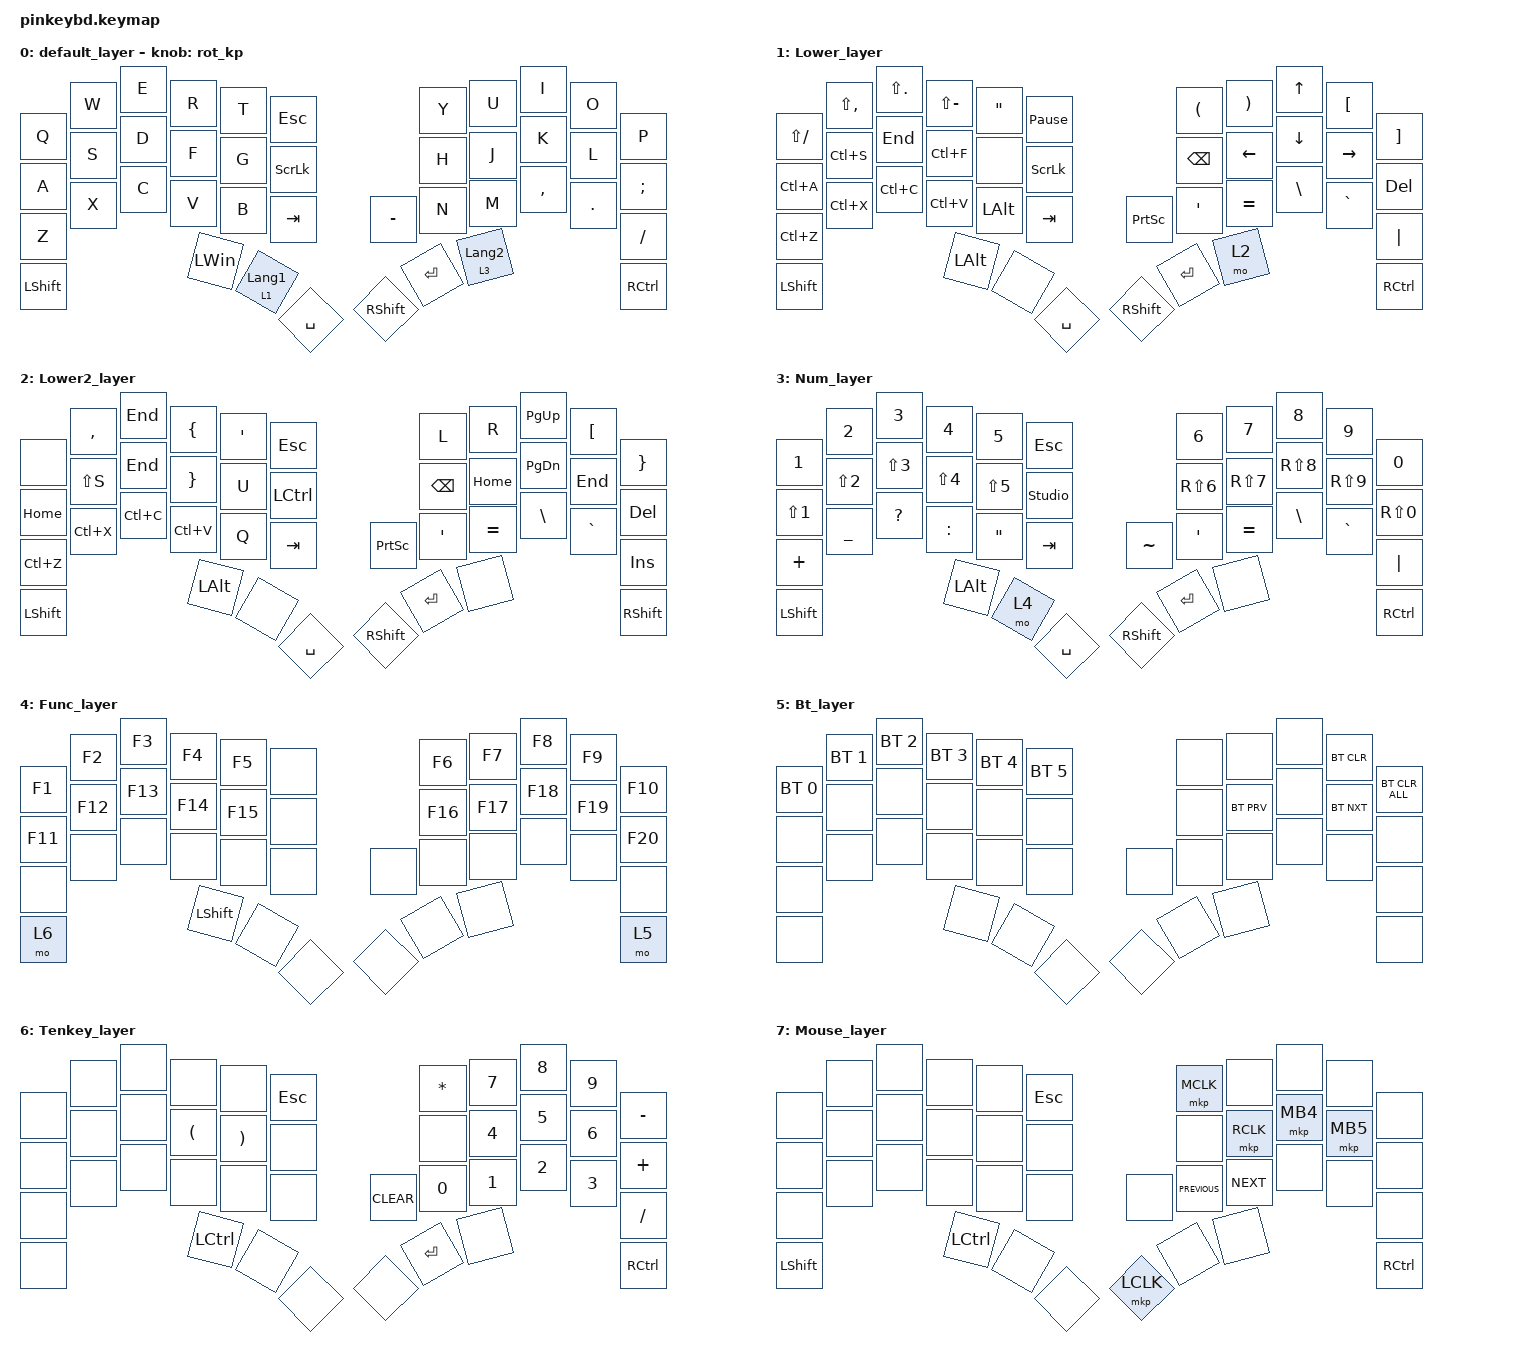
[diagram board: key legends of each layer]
#include <behaviors.dtsi>
#include <behaviors/runtime-sensor-rotate.dtsi>
#include <dt-bindings/zmk/bt.h>
#include <dt-bindings/zmk/keys.h>
#include <dt-bindings/zmk/pointing.h>

#define NUM_L 3

&scroll_runtime_input_processor {
    active-layers = <BIT(NUM_L)>;
};

&lt {
    tapping-term-ms = <250>;
};

/ {
    behaviors {
        rot_kp: sensor_rotate_kp {
            compatible = "zmk,behavior-runtime-sensor-rotate";
            #sensor-binding-cells = <0>;
            cw-binding = <&kp PG_DN>;
            ccw-binding = <&kp PG_UP>;
        };
    };

    keymap {
        compatible = "zmk,keymap";

            // ---------------------------------------------------------------------------------------------------------------------------------------------------------------------------------------------------------------
            // |        /       |       ,       |       .       |      -        |      ;       |    ESC         |                   |           |       L      |       R       |       D       |       Y       |      P      |
            // |        A       |       O       |       E       |      I        |      U       |    SCROLLLOCK  |                   |           |       G      |       N       |       T       |       S       |      K      |
            // |        X       |       C       |       V       |      W        |      Q       |    TAB         |                   |     F     |       J      |       H       |       M       |       B       |      Z      |
            // |    L_SHIFT     |               |               |   LOWER / Jp  |    Space     |    LEFT_WIN    |                   |  R_SHIFT  |      ENTER   |  Num_L / Ja   |               |               |   FUN_L     |
            // ---------------------------------------------------------------------------------------------------------------------------------------------------------------------------------------------------------------
        default_layer {
            bindings = <
                &kp Q       &kp W       &kp E       &kp R       &kp T       &kp ESC                                 &kp Y        &kp U        &kp I          &kp O           &kp P
                &kp A       &kp S       &kp D       &kp F       &kp G       &kp SCROLLLOCK                          &kp H        &kp J        &kp K          &kp L           &kp SEMI
                &kp Z       &kp X       &kp C       &kp V       &kp B       &kp TAB                                 &kp N        &kp M        &kp COMMA      &kp DOT         &kp FSLH
                &kp LSHIFT                             &kp LEFT_WIN &lt 1 LANGUAGE_1 &kp SPACE      &kp MINUS       &kp RSHIFT   &kp ENTER    &lt 3 LANGUAGE_2               &kp RCTRL
            >;
            sensor-bindings = <&rot_kp>;
        };
            // ---------------------------------------------------------------------------------------------------------------------------------------------------------------------------------------------------------------
            // |    /           |       <       |       >       |       _       |      ”        |    PAUSE_BREAK|                  |            |      （       |       ）     |        ↑      |        [      |    ]        |
            // |    LC(A)       |       LC(S)   |       END     |       LS(F)   |       U       |    SCROLLLOCK |                  |            |   Backspace   |       ←      |        ↓      |        →      |    DEL      |
            // |    UNDERSCORE  |       CUT     |       COPY    |       PASTE   |       LALT    |    TAB        |                  |   PSCRN    |    ' / "      |    = / +     |    \ / |      |    ` / ~      |    PIPE     |
            // |    L_SHIFT     |               |               |       LALT    |       none    |    SPACE      |                  |   RSHIFT   |   ENTER       |    LOWER2    |               |               |    RCTRL    |
            // ---------------------------------------------------------------------------------------------------------------------------------------------------------------------------------------------------------------
        Lower_layer {
            bindings = <
                &kp LS(FSLH)    &kp LS(COMMA)   &kp LS(DOT)     &kp LS(MINUS)   &kp DOUBLE_QUOTES   &kp PAUSE_BREAK                 &kp LPAR          &kp RPAR      &kp UP       &kp LBKT     &kp RBKT
                &kp LC(A)       &kp LC(S)       &kp END         &kp LC(F)       &none               &kp SCROLLLOCK                  &kp BSPC          &kp LEFT      &kp DOWN     &kp RIGHT    &kp DEL
                &kp LC(Z)       &kp LC(X)       &kp LC(C)       &kp LC(V)       &kp LALT            &kp TAB                         &kp APOS          &kp EQUAL     &kp BSLH     &kp GRAVE    &kp PIPE
                &kp LSHIFT                                      &kp LALT        &none               &kp SPACE           &kp PSCRN   &kp RSHIFT        &kp ENTER     &mo 2                     &kp RCTRL
            >;  
        };
            // -------------------------------------------------------------------------------------------------------------------------------------------------------------------------------------------------------------
            // |    /           |       ,        |       END     |       {       |       ’      |    ESC        |                  |            |      L      |      R         |    PG_UP      |     {       |      }      |
            // |    HOME        |       C_SAVE   |       END     |       }       |       U      |    LCTRL      |                  |            |  Backspace  |    HOME        |    PG_DN      |    END      |    DEL      |
            // |    UNDO        |       CUT      |       COPY    |       PASTE   |       Q      |    TAB        |                  |      F     |    ' / "    |    = / +       |    \ / |      |    ` / ~    |    INS      |
            // |    L_SHIFT     |                |               |       BT_L    |      SPACE   |    LALT       |                  |   ENTER    |    none     |   R_SHIFT      |               |             |   R_SHIFT   |
            // -------------------------------------------------------------------------------------------------------------------------------------------------------------------------------------------------------------
        Lower2_layer {
            bindings = <
                &none        &kp COMMA    &kp END      &kp LEFT_BRACE    &kp SINGLE_QUOTE    &kp ESC                             &kp L           &kp R        &kp PG_UP       &kp LBKT       &kp RBRC
                &kp HOME     &kp LS(S)    &kp END      &kp RIGHT_BRACE   &kp U               &kp LCTRL                           &kp BSPC        &kp HOME     &kp PG_DN       &kp END        &kp DEL
                &kp LC(Z)    &kp LC(X)    &kp LC(C)    &kp LC(V)         &kp Q               &kp TAB                             &kp APOS        &kp EQUAL    &kp BSLH        &kp GRAVE      &kp INS
                &kp LSHIFT                             &kp LALT          &none               &kp SPACE               &kp PSCRN   &kp RSHIFT      &kp ENTER    &none                          &kp RSHIFT
            >;
        };
            // --------------------------------------------------------------------------------------------------------------------------------------------------------------------------------------------------------------
            // |        1       |      2        |       3       |       4       |       5       |    ESC        |               |            |      6       |      7        |       8       |       9       |       0       |
            // |        !       |      @        |       #       |       $       |       %       |    none       |               |            |      ^       |      &        |       *       |       (       |       )       | 
            // |        F1      |     F2        |     F3        |       F4      |       F5      |    TAB        |               |     ~      |    ' / "     |    = / +      |    \ / |      |    ` / ~      |       INS     |
            // |    L_SHIFT     |               |               | En / FUNC_L   |    Space      |    LSIHT      |               |   R_SHIFT  |      ENTER   |     none      |               |               |       R_SHIFT |
            // --------------------------------------------------------------------------------------------------------------------------------------------------------------------------------------------------------------
        Num_layer {
            bindings = <
                &kp N1       &kp N2       &kp N3       &kp N4       &kp N5      &kp ESC                         &kp N6       &kp N7      &kp N8     &kp N9      &kp N0
                &kp LS(N1)   &kp LS(N2)   &kp LS(N3)   &kp LS(N4)   &kp LS(N5)  &studio_unlock                  &kp RS(N6)   &kp RS(N7)  &kp RS(N8) &kp RS(N9)  &kp RS(N0)
                &kp PLUS     &kp UNDER    &kp QMARK    &kp COLON    &kp DQT     &kp TAB                         &kp APOS     &kp EQUAL   &kp BSLH   &kp GRAVE   &kp PIPE
                &kp LSHIFT                             &kp LALT     &mo 4       &kp SPACE            &kp TILDE  &kp RSHIFT   &kp ENTER   &none                  &kp RCTRL
            >;
        };
            // ---------------------------------------------------------------------------------------------------------------------------------------------------------------------------------
            // |     F1      |     F2     |     F3     |     F4     |    F5      |    none    |                |            |    F6      |    F7      |    F8      |    F9       |     F10     |
            // |     F11     |     F12    |     F13    |     F14    |    F15     |    none    |                |   none     |    F16     |    F17     |    F18     |    F19      |     F20     |
            // |     none    |    none    |    none    |    none    |   none     |    none    |                |   none     |    none    |    none    |    none    |    none     |     none    |
            // |     L_SHIFT |    none    |    none    |    none    |   none     |    none    |                |   none     |    none    |    none    |    none    |    none     |   To_BT_L   |
            // ---------------------------------------------------------------------------------------------------------------------------------------------------------------------------------
        Func_layer {
            bindings = <
                &kp F1       &kp F2       &kp F3       &kp F4        &kp F5      &none                        &kp F6       &kp F7       &kp F8     &kp F9      &kp F10
                &kp F11      &kp F12      &kp F13      &kp F14       &kp F15     &none                        &kp F16      &kp F17      &kp F18    &kp F19     &kp F20
                &none        &none        &none        &none         &none       &none                        &none        &none        &none      &none       &none
                &mo 6                                  &kp LSHIFT    &none       &none             &none      &none        &none        &none                  &mo 5
            >;
        };
            // --------------------------------------------------------------------------------------------------------------------------------------------------------------------------------
            // |  BT_SEL 0  |  BT_SEL 1  |  BT_SEL 2  |  BT_SEL 3  |            |            |                  |            |    none    |    none    |    none    |   BT_CLR   | BT_CLR_ALL |
            // |    none    |    none    |    none    |    none    |   none     |    none    |                  |    none    |    none    |   BT_PRV   |    none    |   BT_NXT   |    none    |
            // |    none    |    none    |    none    |    none    |   none     |    none    |                  |    none    |    none    |    none    |    none    |   none     |    none    |
            // |    none    |            |            |    none    |   none     |    none    |                  |    none    |    none    |    none    |            |            |    none    |
            // --------------------------------------------------------------------------------------------------------------------------------------------------------------------------------
        Bt_layer {
            bindings = <
                &bt BT_SEL 0 &bt BT_SEL 1 &bt BT_SEL 2 &bt BT_SEL 3  &bt BT_SEL 4 &bt BT_SEL 5                  &none        &none        &none        &bt BT_CLR   &bt BT_CLR_ALL
                &none        &none        &none        &none         &none        &none                         &none        &bt BT_PRV   &none        &bt BT_NXT   &none
                &none        &none        &none        &none         &none        &none                         &none        &none        &none        &none        &none
                &none                                  &none         &none        &none             &none       &none        &none        &none                     &none
            >;
        };
            // --------------------------------------------------------------------------------------------------------------------------------------------------------------------------------
            // |    none    |    none    |    none    |    none    |   none     |    ESC     |                  |            |  ASTERISK  |      7     |     8      |     9      |      -     |
            // |    none    |    none    |    none    |    （      |     ）     |    none    |                  |            |    none    |      4     |     5      |     6      |      +     |
            // |    none    |    none    |    none    |    none    |   none     |    none    |                  |    CLEAR   |    none    |      1     |     2      |     3      |      /     |
            // |    L_SHIFT |            |            |    none    |   none     |    none    |                  |    none    |    ENTER   |      0     |            |            |    RCTRL   |
            // --------------------------------------------------------------------------------------------------------------------------------------------------------------------------------
        Tenkey_layer {
            bindings = <
                &none       &none        &none        &none         &none        &kp ESC                       &kp ASTERISK   &kp N7       &kp N8       &kp N9       &kp MINUS
                &none       &none        &none        &kp LPAR      &kp RPAR     &none                         &none          &kp N4       &kp N5       &kp N6       &kp PLUS
                &none       &none        &none        &none         &none        &none                         &kp N0         &kp N1       &kp N2       &kp N3       &kp SLASH
                &none                                 &kp LCTRL     &none        &none             &kp CLEAR   &none          &kp ENTER    &none                     &kp RCTRL
            >;
        };
            // --------------------------------------------------------------------------------------------------------------------------------------------------------------------------------
            // |    none    |    none    |    none    |    none    |   none     |    ESC     |                  |            |    MCLK    |    none    |    none    |   none     |    none    |
            // |    none    |    none    |    none    |    none    |   none     |    none    |                  |            |    none    |    RCLK    |    MB4     |   MB5      |    none    |
            // |    none    |    none    |    none    |    none    |   none     |    none    |                  |    none    | C_PREVIOUS |   C_NEXT   |    none    |   none     |    none    |
            // |    L_SHIFT |            |            |    none    |   none     |    none    |                  |    LCLK    |    none    |    none    |            |            |    RCTRL   |
            // --------------------------------------------------------------------------------------------------------------------------------------------------------------------------------
        Mouse_layer {
            bindings = <
                &none       &none        &none        &none         &none        &kp ESC                       &mkp MCLK        &none        &none        &none        &none
                &none       &none        &none        &none         &none        &none                         &none            &mkp RCLK    &mkp MB4     &mkp MB5     &none
                &none       &none        &none        &none         &none        &none                         &kp C_PREVIOUS   &kp C_NEXT   &none        &none        &none
                &kp LSHIFT                            &kp LCTRL     &none        &none             &none       &mkp LCLK        &none        &none                     &kp RCTRL
            >;
        };
    };
};
